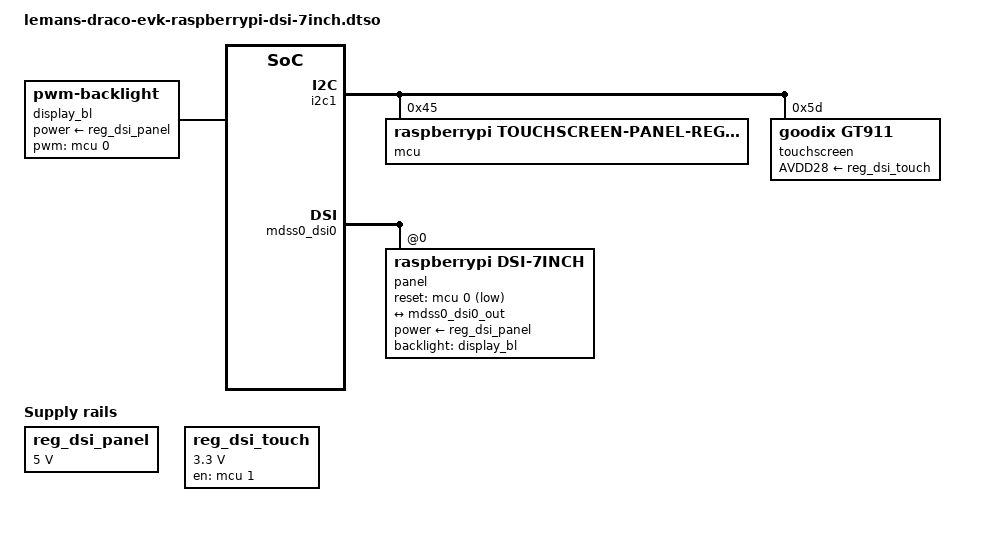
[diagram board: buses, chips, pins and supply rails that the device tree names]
// SPDX-License-Identifier: BSD-3-Clause
/*
 * Copyright (c) Qualcomm Technologies, Inc. and/or its subsidiaries.
 */

/dts-v1/;
/plugin/;

#include <dt-bindings/gpio/gpio.h>

&{/} {
	display_bl: backlight {
		compatible = "pwm-backlight";
		power-supply = <&reg_dsi_panel>;
		pwms = <&mcu 0 255 0>;
	};

	reg_dsi_panel: regulator-dsi-panel {
		compatible = "regulator-fixed";
		regulator-name = "rpi-dsi-panel";
		regulator-min-microvolt = <5000000>;
		regulator-max-microvolt = <5000000>;
	};

	reg_dsi_touch: regulator-dsi-touch {
		compatible = "regulator-fixed";
		gpio = <&mcu 1 GPIO_ACTIVE_HIGH>;
		regulator-name = "rpi-touch";
		regulator-min-microvolt = <3300000>;
		regulator-max-microvolt = <3300000>;
		startup-delay-us = <50000>;
		enable-active-high;
	};
};

&hdmi_bridge {
	status = "disabled";
};

&hdmi_connector {
	status = "disabled";
};


&i2c1 {
	i2c-mux@70 {
		#address-cells = <1>;
		#size-cells = <0>;

		i2c@0 {
			#address-cells = <1>;
			#size-cells = <0>;

			mcu: gpio@45 {
				compatible = "raspberrypi,touchscreen-panel-regulator-v2";
				reg = <0x45>;
				gpio-controller;
				#gpio-cells = <2>;
				#pwm-cells = <3>;
			};

			touchscreen@5d {
				compatible = "goodix,gt911";
				reg = <0x5d>;
				AVDD28-supply = <&reg_dsi_touch>;
				touchscreen-size-x = <720>;
				touchscreen-size-y = <1280>;
			};
		};
	};
};

&mdss0_dsi0 {
	status = "okay";

	#address-cells = <1>;
	#size-cells = <0>;

	panel@0 {
		compatible = "raspberrypi,dsi-7inch", "ilitek,ili9881c";
		reg = <0>;

		backlight = <&display_bl>;
		power-supply = <&reg_dsi_panel>;
		reset-gpios = <&mcu 0 GPIO_ACTIVE_LOW>;

		port {
			panel0_in: endpoint {
				remote-endpoint = <&mdss0_dsi0_out>;
			};
		};
	};
};

&mdss0_dsi0_out {
	remote-endpoint = <&panel0_in>;
	data-lanes = <0 1>;
};
